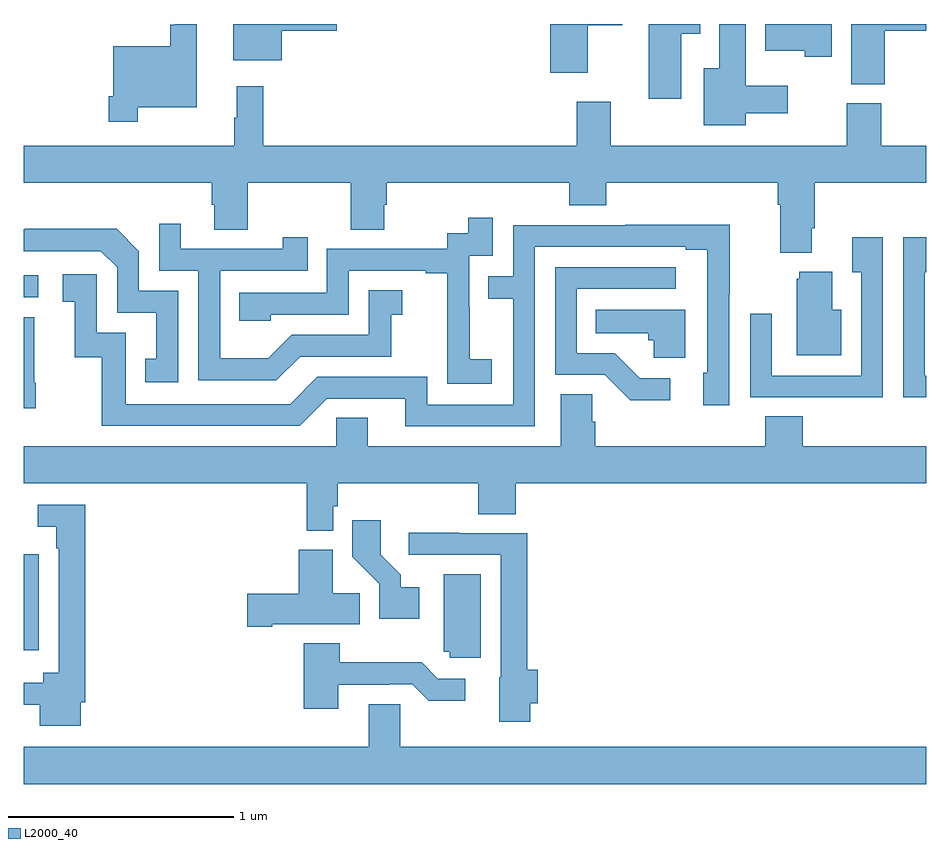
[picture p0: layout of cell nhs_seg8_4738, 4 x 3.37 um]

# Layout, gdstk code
import gdstk
lib = gdstk.Library(unit=1e-6, precision=1e-09)
def R(c, l, rs):  # rectangles x0, y0, x1, y1
    for r in rs: c.add(gdstk.rectangle(r[:2], r[2:], *l))
def P(c, l, *ps):  # polygons
    for p in ps: c.add(gdstk.Polygon(p, *l))
L2000_40 = (2000, 40)

nhs_seg8_4738 = lib.new_cell('nhs_seg8_4738')
R(nhs_seg8_4738, L2000_40, [(399,1085.124,399.067,1085.551), (399,1086.69,399.064,1086.786)])
P(nhs_seg8_4738, L2000_40, [(402.199,1087.505),(402.385,1087.505),(402.385,1087.627),(402.199,1087.627),(402.199,1087.9),(402.083,1087.9),(402.083,1087.705),(402.014,1087.705),(402.014,1087.451),(402.199,1087.451)],
  [(402.58,1087.9),(402.287,1087.9),(402.287,1087.781),(402.462,1087.781),(402.462,1087.754),(402.58,1087.754)],
  [(400.144,1087.871),(400.387,1087.871),(400.387,1087.9),(399.929,1087.9),(399.929,1087.739),(400.144,1087.739)],
  [(402.815,1087.871),(403,1087.871),(403,1087.9),(402.668,1087.9),(402.668,1087.633),(402.815,1087.633)],
  [(401.914,1087.856),(401.998,1087.856),(401.998,1087.9),(401.771,1087.9),(401.771,1087.569),(401.914,1087.569)],
  [(401.5,1087.894),(401.653,1087.894),(401.653,1087.9),(401.333,1087.9),(401.333,1087.683),(401.5,1087.683)],
  [(399.505,1087.532),(399.766,1087.532),(399.766,1087.9),(399.669,1087.9),(399.669,1087.897),(399.649,1087.897),(399.649,1087.801),(399.396,1087.801),(399.396,1087.579),(399.376,1087.579),(399.376,1087.467),(399.505,1087.467)],
  [(402.493,1086.994),(402.506,1086.994),(402.506,1087.196),(403,1087.196),(403,1087.36),(402.8,1087.36),(402.8,1087.548),(402.647,1087.548),(402.647,1087.36),(401.602,1087.36),(401.602,1087.555),(401.45,1087.555),(401.45,1087.36),(400.061,1087.36),(400.061,1087.624),(399.944,1087.624),(399.944,1087.484),(399.933,1087.484),(399.933,1087.36),(399,1087.36),(399,1087.196),(399.833,1087.196),(399.833,1087.098),(399.845,1087.098),(399.845,1086.988),(399.993,1086.988),(399.993,1087.196),(400.45,1087.196),(400.45,1086.988),(400.597,1086.988),(400.597,1087.098),(400.61,1087.098),(400.61,1087.196),(401.417,1087.196),(401.417,1087.097),(401.582,1087.097),(401.582,1087.196),(402.341,1087.196),(402.341,1087.1),(402.353,1087.1),(402.353,1086.887),(402.493,1086.887)],
  [(401.074,1086.415),(400.976,1086.415),(400.976,1086.644),(400.974,1086.644),(400.974,1086.873),(401.079,1086.873),(401.079,1087.042),(400.971,1087.042),(400.971,1086.972),(400.878,1086.972),(400.878,1086.903),(400.344,1086.903),(400.344,1086.708),(399.955,1086.708),(399.955,1086.585),(400.095,1086.585),(400.095,1086.612),(400.44,1086.612),(400.44,1086.807),(400.781,1086.807),(400.781,1086.795),(400.877,1086.795),(400.877,1086.511),(400.876,1086.511),(400.876,1086.305),(401.074,1086.305)],
  [(400.225,1086.426),(400.629,1086.426),(400.629,1086.611),(400.678,1086.611),(400.678,1086.721),(400.53,1086.721),(400.53,1086.522),(400.188,1086.522),(400.084,1086.418),(399.87,1086.418),(399.87,1086.807),(400.259,1086.807),(400.259,1086.955),(400.148,1086.955),(400.148,1086.903),(399.697,1086.903),(399.697,1087.015),(399.6,1087.015),(399.6,1086.807),(399.774,1086.807),(399.774,1086.321),(400.12,1086.321)],
  [(401.265,1086.912),(401.933,1086.912),(401.933,1086.9),(402.03,1086.9),(402.03,1086.354),(402.011,1086.354),(402.011,1086.21),(402.126,1086.21),(402.126,1086.703),(402.129,1086.703),(402.129,1087.01),(401.665,1087.01),(401.665,1087.008),(401.169,1087.008),(401.169,1086.783),(401.059,1086.783),(401.059,1086.682),(401.169,1086.682),(401.169,1086.213),(400.788,1086.213),(400.788,1086.336),(400.302,1086.336),(400.182,1086.216),(399.453,1086.216),(399.453,1086.531),(399.324,1086.531),(399.324,1086.79),(399.174,1086.79),(399.174,1086.669),(399.227,1086.669),(399.227,1086.423),(399.345,1086.423),(399.345,1086.12),(400.224,1086.12),(400.344,1086.24),(400.691,1086.24),(400.691,1086.117),(401.265,1086.117)],
  [(399.684,1086.717),(399.51,1086.717),(399.51,1086.894),(399.412,1086.992),(399.004,1086.992),(399.004,1086.99),(399,1086.99),(399,1086.894),(399.342,1086.894),(399.414,1086.822),(399.414,1086.621),(399.587,1086.621),(399.587,1086.417),(399.538,1086.417),(399.538,1086.312),(399.684,1086.312)],
  [(403,1086.342),(402.993,1086.342),(402.993,1086.799),(403,1086.799),(403,1086.955),(402.897,1086.955),(402.897,1086.245),(403,1086.245)],
  [(402.807,1086.955),(402.671,1086.955),(402.671,1086.799),(402.711,1086.799),(402.711,1086.342),(402.315,1086.342),(402.315,1086.616),(402.219,1086.616),(402.219,1086.246),(402.535,1086.246),(402.535,1086.245),(402.807,1086.245)],
  [(401.866,1086.33),(401.731,1086.33),(401.62,1086.441),(401.451,1086.441),(401.451,1086.726),(401.89,1086.726),(401.89,1086.822),(401.355,1086.822),(401.355,1086.345),(401.574,1086.345),(401.687,1086.233),(401.866,1086.233)],
  [(402.622,1086.634),(402.583,1086.634),(402.583,1086.802),(402.437,1086.802),(402.437,1086.771),(402.425,1086.771),(402.425,1086.431),(402.622,1086.431)],
  [(401.932,1086.634),(401.536,1086.634),(401.536,1086.53),(401.767,1086.53),(401.767,1086.498),(401.793,1086.498),(401.793,1086.422),(401.932,1086.422)],
  [(399.054,1086.31),(399.046,1086.31),(399.046,1086.601),(399,1086.601),(399,1086.198),(399.054,1086.198)],
  [(400.371,1085.763),(400.391,1085.763),(400.391,1085.864),(401.015,1085.864),(401.015,1085.728),(401.18,1085.728),(401.18,1085.864),(403,1085.864),(403,1086.028),(402.452,1086.028),(402.452,1086.161),(402.287,1086.161),(402.287,1086.028),(401.534,1086.028),(401.534,1086.137),(401.52,1086.137),(401.52,1086.26),(401.381,1086.26),(401.381,1086.028),(400.525,1086.028),(400.525,1086.155),(400.386,1086.155),(400.386,1086.028),(399,1086.028),(399,1085.864),(400.255,1085.864),(400.255,1085.654),(400.371,1085.654)],
  [(399.253,1084.894),(399.272,1084.894),(399.272,1085.769),(399.063,1085.769),(399.063,1085.673),(399.144,1085.673),(399.144,1085.576),(399.156,1085.576),(399.156,1085.026),(399.086,1085.026),(399.086,1084.98),(399,1084.98),(399,1084.884),(399.071,1084.884),(399.071,1084.79),(399.253,1084.79)],
  [(400.753,1085.404),(400.672,1085.404),(400.672,1085.459),(400.582,1085.549),(400.582,1085.701),(400.456,1085.701),(400.456,1085.538),(400.575,1085.419),(400.575,1085.264),(400.753,1085.264)],
  [(401.244,1084.89),(401.279,1084.89),(401.279,1085.039),(401.231,1085.039),(401.231,1085.643),(400.931,1085.643),(400.931,1085.646),(400.707,1085.646),(400.707,1085.547),(401.115,1085.547),(401.115,1085.004),(401.108,1085.004),(401.108,1084.808),(401.244,1084.808)],
  [(400.102,1085.24),(400.49,1085.24),(400.49,1085.378),(400.369,1085.378),(400.369,1085.569),(400.22,1085.569),(400.22,1085.375),(399.99,1085.375),(399.99,1085.228),(400.102,1085.228)],
  [(401.026,1085.462),(400.862,1085.462),(400.862,1085.118),(400.887,1085.118),(400.887,1085.091),(401.026,1085.091)],
  [(400.393,1084.971),(400.622,1084.971),(400.622,1084.974),(400.722,1084.974),(400.795,1084.901),(400.957,1084.901),(400.957,1084.998),(400.836,1084.998),(400.763,1085.071),(400.401,1085.071),(400.401,1085.155),(400.241,1085.155),(400.241,1084.866),(400.393,1084.866)],
  [(403,1084.696),(400.668,1084.696),(400.668,1084.886),(400.529,1084.886),(400.529,1084.696),(399,1084.696),(399,1084.532),(403,1084.532)])

lib.write_gds('nhs_seg8_4738.gds')
